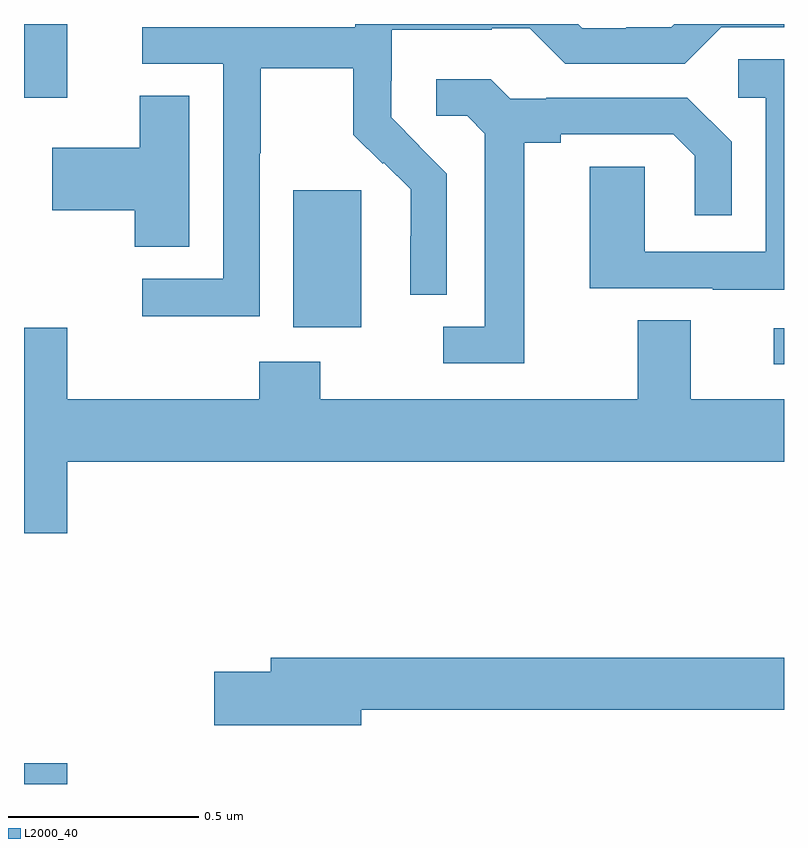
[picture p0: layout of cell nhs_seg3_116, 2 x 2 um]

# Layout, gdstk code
import gdstk
lib = gdstk.Library(unit=1e-6, precision=1e-09)
def R(c, l, rs):  # rectangles x0, y0, x1, y1
    for r in rs: c.add(gdstk.rectangle(r[:2], r[2:], *l))
def P(c, l, *ps):  # polygons
    for p in ps: c.add(gdstk.Polygon(p, *l))
L2000_40 = (2000, 40)

nhs_seg3_116 = lib.new_cell('nhs_seg3_116')
R(nhs_seg3_116, L2000_40, [(112,701.4,112.114,701.455), (113.973,702.504,114,702.6), (112.709,702.602,112.888,702.963), (112,703.206,112.114,703.4)])
P(nhs_seg3_116, L2000_40, [(112.62,703.06),(112.623,703.06),(112.623,703.284),(112.867,703.284),(112.867,703.109),(112.944,703.032),(112.947,703.035),(113.018,702.965),(113.018,702.842),(113.016,702.842),(113.016,702.688),(113.112,702.688),(113.112,703.006),(113.039,703.079),(113.04,703.08),(112.966,703.154),(112.966,703.251),(112.968,703.251),(112.968,703.385),(113.231,703.385),(113.231,703.389),(113.331,703.389),(113.424,703.296),(113.739,703.296),(113.835,703.392),(114,703.392),(114,703.4),(113.711,703.4),(113.703,703.392),(113.585,703.392),(113.585,703.389),(113.469,703.389),(113.458,703.4),(112.872,703.4),(112.872,703.392),(112.311,703.392),(112.311,703.296),(112.524,703.296),(112.524,702.729),(112.311,702.729),(112.311,702.631),(112.62,702.631)],
  [(114,703.307),(113.88,703.307),(113.88,703.206),(113.952,703.206),(113.952,702.801),(113.634,702.801),(113.634,703.025),(113.489,703.025),(113.489,702.705),(113.813,702.705),(113.813,702.701),(114,702.701)],
  [(113.317,703.088),(113.413,703.088),(113.413,703.11),(113.708,703.11),(113.765,703.053),(113.765,702.897),(113.862,702.897),(113.862,703.09),(113.746,703.206),(113.374,703.206),(113.374,703.203),(113.28,703.203),(113.228,703.255),(113.085,703.255),(113.085,703.158),(113.166,703.158),(113.213,703.111),(113.213,702.603),(113.103,702.603),(113.103,702.507),(113.317,702.507)],
  [(112.435,703.211),(112.304,703.211),(112.304,703.075),(112.074,703.075),(112.074,702.91),(112.292,702.91),(112.292,702.814),(112.435,702.814)],
  [(112.114,702.248),(114,702.248),(114,702.412),(113.755,702.412),(113.755,702.62),(113.615,702.62),(113.615,702.412),(112.779,702.412),(112.779,702.511),(112.619,702.511),(112.619,702.412),(112.114,702.412),(112.114,702.601),(112,702.601),(112,702.06),(112.114,702.06)],
  [(112.888,701.596),(114,701.596),(114,701.732),(112.649,701.732),(112.649,701.696),(112.5,701.696),(112.5,701.554),(112.888,701.554)])

lib.write_gds('nhs_seg3_116.gds')
